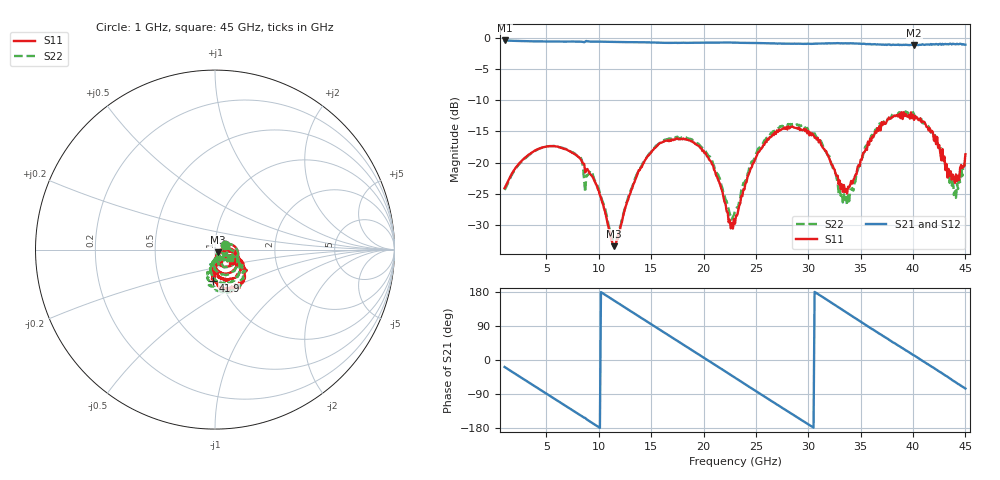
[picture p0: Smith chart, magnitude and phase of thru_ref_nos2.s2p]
!Keysight Technologies,N5247B,MY61255062,A.19.80.06
!Date: Monday, May 18, 2026 12:06:32
!Correction: S11(Cdelta 2-Port  )
!S21(Cdelta 2-Port  )
!S12(Cdelta 2-Port  )
!S22(Cdelta 2-Port  )
!S2P File: Measurements: S11, S21, S12, S22:
# Hz S  dB  R 50
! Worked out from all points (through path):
!   441 points, 1 GHz to 45 GHz, reference 50 ohm
!   highest |S21| = -0.41 dB at 1 GHz (marker M1); lowest = -1.2 dB at 40.1 GHz (marker M2)
!   group delay of S21, straight-line fit = 49 ps
!   lowest |S11| = -33.4 dB at 11.4 GHz (marker M3), VSWR 1.04, Z = 51.5 - j1.54 ohm
!   |S11| at or under -10 dB: start of sweep to end of sweep
!   |S22| runs from -32.5 to -11.8 dB; largest |S21 - S12| = 0.021
!   S11 on the Smith chart (normalised r, x): 1 GHz: 1.12, +0.06; 41.9 GHz: 0.92, -0.33; 45 GHz: 1.20, -0.16
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1e9  -24.10 24.6  -0.41 -18.4  -0.41 -18.4  -24.40 24.7
4.8e9  -17.51 -14.5  -0.57 -85.5  -0.57 -85.5  -17.50 -14.6
6.6e9  -17.76 -40.2  -0.59 -117.1  -0.59 -117.1  -17.68 -40.7
8.4e9  -19.91 -66.3  -0.62 -149.1  -0.62 -149.1  -19.78 -63.7
9.5e9  -22.66 -76.5  -0.59 -168.5  -0.59 -168.5  -22.40 -77.3
1.14e10  -33.42 -44.3  -0.63 157.8  -0.64 157.7  -32.23 -50.1
1.37e10  -21.80 5.6  -0.69 117.2  -0.69 117.1  -21.66 2.2
1.57e10  -17.06 -20.1  -0.75 81.8  -0.76 81.8  -16.99 -22.8
1.96e10  -17.42 -75.1  -0.77 13.7  -0.78 13.7  -17.14 -77.7
2.12e10  -22.06 -92.9  -0.73 -14.6  -0.73 -14.7  -21.36 -94.9
2.3e10  -29.80 -34.6  -0.77 -46.8  -0.77 -46.8  -27.73 -43.2
2.47e10  -20.15 -8.7  -0.81 -76.8  -0.82 -76.9  -19.85 -15.6
2.64e10  -15.92 -27.7  -0.87 -106.9  -0.88 -106.9  -15.31 -34.3
2.85e10  -14.22 -53.9  -0.94 -143.6  -0.93 -143.6  -13.82 -63.5
3.04e10  -15.37 -73.8  -0.94 -176.8  -0.96 -176.8  -15.36 -90.5
3.37e10  -24.97 -56.5  -0.89 124.4  -0.88 124.4  -26.84 -52.6
3.56e10  -17.96 -17.9  -0.99 90.4  -0.97 90.2  -17.13 -24.8
3.77e10  -12.77 -43.8  -1.06 53.7  -1.02 53.7  -13.06 -49.7
4.01e10  -13.14 -75.4  -1.16 12.1  -1.09 11.7  -12.26 -80.7
4.19e10  -15.15 -94.1  -1.01 -19.4  -1.07 -20.0  -15.75 -105.7
4.41e10  -21.91 -62.8  -1.03 -59.1  -1.08 -59.3  -25.67 -67.2
4.5e10  -18.67 -34.0  -1.08 -75.3  -1.04 -75.8  -20.29 -29.8
